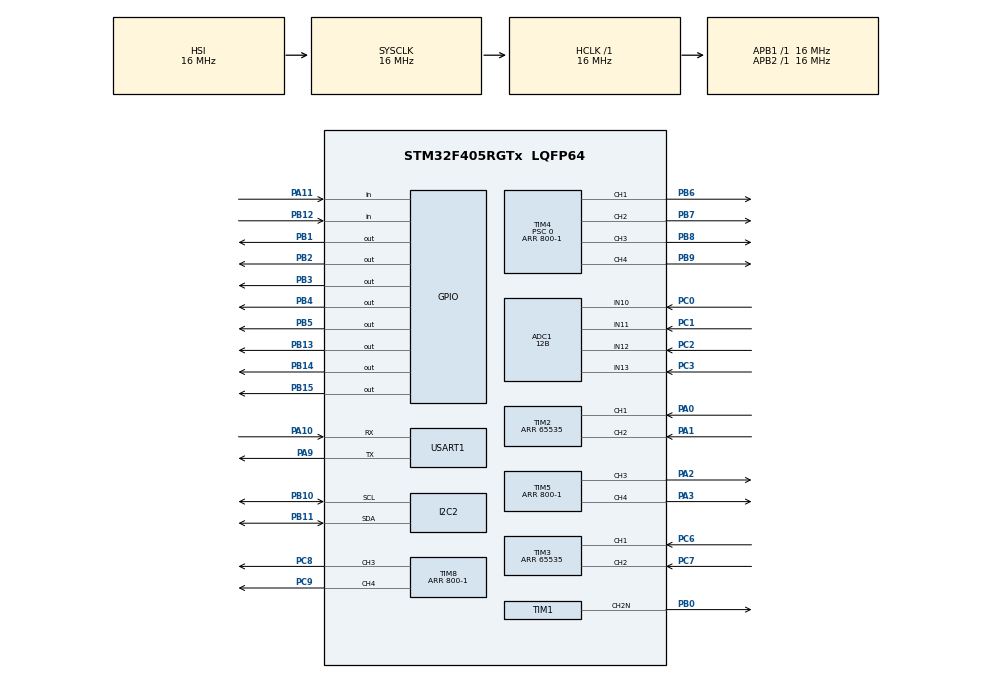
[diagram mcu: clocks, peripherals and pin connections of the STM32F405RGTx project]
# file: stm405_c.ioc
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ADC1.Channel-0\#ChannelRegularConversion=ADC_CHANNEL_10
ADC1.Channel-1\#ChannelRegularConversion=ADC_CHANNEL_11
ADC1.Channel-2\#ChannelRegularConversion=ADC_CHANNEL_12
ADC1.Channel-3\#ChannelRegularConversion=ADC_CHANNEL_13
ADC1.ClockPrescaler=ADC_CLOCK_SYNC_PCLK_DIV2
ADC1.ContinuousConvMode=ENABLE
ADC1.DMAContinuousRequests=ENABLE
ADC1.DataAlign=ADC_DATAALIGN_RIGHT
ADC1.DiscontinuousConvMode=DISABLE
ADC1.EOCSelection=ADC_EOC_SINGLE_CONV
ADC1.EnableAnalogWatchDog=false
ADC1.ExternalTrigConv=ADC_SOFTWARE_START
ADC1.ExternalTrigConvEdge=ADC_EXTERNALTRIGCONVEDGE_NONE
ADC1.InjNumberOfConversion=0
ADC1.NbrOfConversion=4
ADC1.NbrOfConversionFlag=1
ADC1.Rank-0\#ChannelRegularConversion=1
ADC1.Rank-1\#ChannelRegularConversion=2
ADC1.Rank-2\#ChannelRegularConversion=3
ADC1.Rank-3\#ChannelRegularConversion=4
ADC1.Resolution=ADC_RESOLUTION_12B
ADC1.SamplingTime-0\#ChannelRegularConversion=ADC_SAMPLETIME_3CYCLES
ADC1.SamplingTime-1\#ChannelRegularConversion=ADC_SAMPLETIME_3CYCLES
ADC1.SamplingTime-2\#ChannelRegularConversion=ADC_SAMPLETIME_3CYCLES
ADC1.SamplingTime-3\#ChannelRegularConversion=ADC_SAMPLETIME_3CYCLES
ADC1.ScanConvMode=ENABLE
ADC1.master=1
Dma.ADC1.0.Direction=DMA_PERIPH_TO_MEMORY
Dma.ADC1.0.FIFOMode=DMA_FIFOMODE_DISABLE
Dma.ADC1.0.Instance=DMA2_Stream0
Dma.ADC1.0.MemDataAlignment=DMA_MDATAALIGN_HALFWORD
Dma.ADC1.0.MemInc=DMA_MINC_ENABLE
Dma.ADC1.0.Mode=DMA_CIRCULAR
Dma.ADC1.0.PeriphDataAlignment=DMA_PDATAALIGN_HALFWORD
Dma.ADC1.0.PeriphInc=DMA_PINC_DISABLE
Dma.ADC1.0.Priority=DMA_PRIORITY_VERY_HIGH
Dma.Request0=ADC1
Mcu.Family=STM32F4
Mcu.Name=STM32F405RGTx
Mcu.Package=LQFP64
NVIC.DMA2_Stream0_IRQn=true\:0\:0\:false\:false\:true\:false
NVIC.PriorityGroup=NVIC_PRIORITYGROUP_4
NVIC.TIM6_DAC_IRQn=true\:0\:0\:false\:false\:true\:true
NVIC.TIM7_IRQn=true\:1\:0\:true\:false\:true\:true
PA0-WKUP.Signal=S_TIM2_CH1_ETR
PA1.Signal=S_TIM2_CH2
PA10.Mode=Asynchronous
PA10.Signal=USART1_RX
PA11.Signal=GPIO_Input
PA13.Mode=Serial_Wire
PA13.Signal=SYS_JTMS-SWDIO
PA14.Mode=Serial_Wire
PA14.Signal=SYS_JTCK-SWCLK
PA2.Signal=S_TIM5_CH3
PA3.Signal=S_TIM5_CH4
PA9.Mode=Asynchronous
PA9.Signal=USART1_TX
PB0.Mode=PWM Generation2 CH2N
PB0.Signal=TIM1_CH2N
PB1.Signal=GPIO_Output
PB10.Mode=I2C
PB10.Signal=I2C2_SCL
PB11.Mode=I2C
PB11.Signal=I2C2_SDA
PB12.Signal=GPIO_Input
PB13.Signal=GPIO_Output
PB14.Signal=GPIO_Output
PB15.Signal=GPIO_Output
PB2.Signal=GPIO_Output
PB3.Signal=GPIO_Output
PB4.Signal=GPIO_Output
PB5.Signal=GPIO_Output
PB6.Signal=S_TIM4_CH1
PB7.Signal=S_TIM4_CH2
PB8.Signal=S_TIM4_CH3
PB9.Signal=S_TIM4_CH4
PC0.Signal=ADCx_IN10
PC1.Signal=ADCx_IN11
PC2.Signal=ADCx_IN12
PC3.Signal=ADCx_IN13
PC6.Signal=S_TIM3_CH1
PC7.Signal=S_TIM3_CH2
PC8.Signal=S_TIM8_CH3
PC9.Signal=S_TIM8_CH4
ProjectManager.HeapSize=0x200
ProjectManager.StackSize=0x400
ProjectManager.TargetToolchain=SW4STM32
RCC.AHBFreq_Value=16000000
RCC.APB1Freq_Value=16000000
RCC.APB2Freq_Value=16000000
RCC.CortexFreq_Value=16000000
RCC.HSE_VALUE=25000000
RCC.HSI_VALUE=16000000
RCC.LSE_VALUE=32768
RCC.SYSCLKFreq_VALUE=16000000
RCC.VCOOutputFreq_Value=192000000
SH.ADCx_IN10.0=ADC1_IN10,IN10
SH.ADCx_IN11.0=ADC1_IN11,IN11
SH.ADCx_IN12.0=ADC1_IN12,IN12
SH.ADCx_IN13.0=ADC1_IN13,IN13
SH.S_TIM2_CH1_ETR.0=TIM2_CH1,Encoder_Interface
SH.S_TIM2_CH2.0=TIM2_CH2,Encoder_Interface
SH.S_TIM3_CH1.0=TIM3_CH1,Encoder_Interface
SH.S_TIM3_CH2.0=TIM3_CH2,Encoder_Interface
SH.S_TIM4_CH1.0=TIM4_CH1,PWM Generation1 CH1
SH.S_TIM4_CH2.0=TIM4_CH2,PWM Generation2 CH2
SH.S_TIM4_CH3.0=TIM4_CH3,PWM Generation3 CH3
SH.S_TIM4_CH4.0=TIM4_CH4,PWM Generation4 CH4
SH.S_TIM5_CH3.0=TIM5_CH3,PWM Generation3 CH3
SH.S_TIM5_CH4.0=TIM5_CH4,PWM Generation4 CH4
SH.S_TIM8_CH3.0=TIM8_CH3,PWM Generation3 CH3
SH.S_TIM8_CH4.0=TIM8_CH4,PWM Generation4 CH4
TIM1.Channel-PWM\ Generation2\ CH2N=TIM_CHANNEL_2
TIM1.Period=4000-1
TIM2.CounterMode=TIM_COUNTERMODE_CENTERALIGNED1
TIM2.EncoderMode=TIM_ENCODERMODE_TI12
TIM2.Period=65535
TIM3.CounterMode=TIM_COUNTERMODE_CENTERALIGNED1
TIM3.EncoderMode=TIM_ENCODERMODE_TI12
TIM3.Period=65535
TIM4.Channel-PWM\ Generation1\ CH1=TIM_CHANNEL_1
TIM4.Channel-PWM\ Generation2\ CH2=TIM_CHANNEL_2
TIM4.Channel-PWM\ Generation3\ CH3=TIM_CHANNEL_3
TIM4.Channel-PWM\ Generation4\ CH4=TIM_CHANNEL_4
TIM4.Period=800-1
TIM4.Prescaler=0
TIM5.Channel-PWM\ Generation3\ CH3=TIM_CHANNEL_3
TIM5.Channel-PWM\ Generation4\ CH4=TIM_CHANNEL_4
TIM5.Period=800-1
TIM6.Period=1
TIM6.Prescaler=8000-1
TIM7.Period=10
TIM7.Prescaler=8000-1
TIM8.Channel-PWM\ Generation3\ CH3=TIM_CHANNEL_3
TIM8.Channel-PWM\ Generation4\ CH4=TIM_CHANNEL_4
TIM8.Period=800-1
USART1.VirtualMode=VM_ASYNC
VP_TIM6_VS_ClockSourceINT.Mode=Enable_Timer
VP_TIM7_VS_ClockSourceINT.Mode=Enable_Timer
board=stm405_c

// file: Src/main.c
/**
  ******************************************************************************
  * @file           : main.c
  * @brief          : Main program body
  ******************************************************************************
  ** This notice applies to any and all portions of this file
  * that are not between comment pairs USER CODE BEGIN and
  * USER CODE END. Other portions of this file, whether
  * inserted by the user or by software development tools
  * are owned by their respective copyright owners.
  *
  * COPYRIGHT(c) 2019 STMicroelectronics
  *
  * Redistribution and use in source and binary forms, with or without modification,
  * are permitted provided that the following conditions are met:
  *   1. Redistributions of source code must retain the above copyright notice,
  *      this list of conditions and the following disclaimer.
  *   2. Redistributions in binary form must reproduce the above copyright notice,
  *      this list of conditions and the following disclaimer in the documentation
  *      and/or other materials provided with the distribution.
  *   3. Neither the name of STMicroelectronics nor the names of its contributors
  *      may be used to endorse or promote products derived from this software
  *      without specific prior written permission.
  *
  * THIS SOFTWARE IS PROVIDED BY THE COPYRIGHT HOLDERS AND CONTRIBUTORS "AS IS"
  * AND ANY EXPRESS OR IMPLIED WARRANTIES, INCLUDING, BUT NOT LIMITED TO, THE
  * IMPLIED WARRANTIES OF MERCHANTABILITY AND FITNESS FOR A PARTICULAR PURPOSE ARE
  * DISCLAIMED. IN NO EVENT SHALL THE COPYRIGHT HOLDER OR CONTRIBUTORS BE LIABLE
  * FOR ANY DIRECT, INDIRECT, INCIDENTAL, SPECIAL, EXEMPLARY, OR CONSEQUENTIAL
  * DAMAGES (INCLUDING, BUT NOT LIMITED TO, PROCUREMENT OF SUBSTITUTE GOODS OR
  * SERVICES; LOSS OF USE, DATA, OR PROFITS; OR BUSINESS INTERRUPTION) HOWEVER
  * CAUSED AND ON ANY THEORY OF LIABILITY, WHETHER IN CONTRACT, STRICT LIABILITY,
  * OR TORT (INCLUDING NEGLIGENCE OR OTHERWISE) ARISING IN ANY WAY OUT OF THE USE
  * OF THIS SOFTWARE, EVEN IF ADVISED OF THE POSSIBILITY OF SUCH DAMAGE.
  *
  ******************************************************************************
  */
#include "main.h"
#include "stm32f4xx_hal.h"
#include "adc.h"
#include "dma.h"
#include "i2c.h"
#include "tim.h"
#include "usart.h"
#include "gpio.h"
#include "flash.h"

/* USER CODE BEGIN PV */
/* Private variables ---------------------------------------------------------*/

const float Rm = 37.750;//旋回半径
const float Rt = 12.0;//タイヤ半径
const float PI = 3.14159265;//円周率
const float T = 0.001;//制御周期
const float M = 114.58;//機体重量
const float Ratio_gear = 42/8;//ギア比
const float V_source = 3.3;

const float Torque_constant_motor = 1.98*0.001;
const float R_constant_motor = 1.07;
const float Vback_constant_motor = 0.207*0.001;//逆起電力定数[V/min^-1]
const float Rotation_constant_motor = 4820;//回転定数[min^-1/V]

float time=0.0;

double view_enc1 = 0;
double view_enc2 = 0;
double view_gyro_i2c = 0;
double view_gyro_enc = 0;

double theta=0.0;
double theta_offset=0.0;
enum{LENGTH=4};
uint16_t ADCBuffer[LENGTH];
#define true 1
#define false 0
struct flags{
	short btn1,btn2,start_tim;
} flg;
struct position{
	float x,y;
} pos;
struct parcel{
	int x,y;
	short n,s,e,w;
};
/* USER CODE END PV */

void SystemClock_Config(void);

/* USER CODE BEGIN PFP */
/* Private function prototypes -----------------------------------------------*/
void user_tim1_ch2_pwm_setvalue(float value);
void user_tim5_ch3_pwm_setvalue(float value);
void user_tim5_ch4_pwm_setvalue(float value);
void user_tim8_ch3_pwm_setvalue(float value);
void user_tim8_ch4_pwm_setvalue(float value);
void user_tim4_ch1_pwm_setvalue(float value);
void user_tim4_ch2_pwm_setvalue(float value);
void user_tim4_ch3_pwm_setvalue(float value);
void user_tim4_ch4_pwm_setvalue(float value);
void user_tim4_pwm_setvalue(float value);
void user_tim2_qei_setvalue(int32_t);
void user_tim3_qei_setvalue(int32_t);
int32_t user_tim2_qei_getvalue();
int32_t user_tim3_qei_getvalue();
void user_i2c2_gyro_set_init();
float user_i2c2_gyro_getvalue();
double user_enc_gyro_getvalue(float right,float left);
void user_motor1_duty(float target);
void user_motor2_duty(float target);
float user_motor_foward(float target,float encval);
void user_motor1_control(float target,float encval);
void user_motor2_control(float target,float encval);
void user_motor1_stop();
void user_motor2_stop();
float user_motor1_qei_getvalue();
float user_motor2_qei_getvalue();
float user_pid_motor1_speed(float target,float current);
float user_pid_motor2_speed(float target,float current);
float user_pid_motor1_position(float target,float current);
float user_pid_motor2_position(float target,float current);
float user_pid_theta(float target,float current);

void kinematics(float v,float rho,float *left,float *right);
void user_machine_control_speed(float target_v,float target_w);
GPIO_PinState user_button_1();
GPIO_PinState user_button_2();
/* USER CODE END PFP */

/* USER CODE BEGIN 0 */
void user_tim6_interrupt(){
	time += 0.001;
	float encval1=user_motor1_qei_getvalue();//left
	float encval2=user_motor2_qei_getvalue();//right
	view_enc1 = encval1;
	view_enc2 = encval2;
	view_gyro_i2c = user_i2c2_gyro_getvalue();
	view_gyro_enc = user_enc_gyro_getvalue(encval2,encval1);
	theta += view_gyro_i2c;

	float control_val = theta*500 + view_gyro_i2c*Rt;

	user_motor1_control(control_val,encval1);
	user_motor2_control(-control_val,encval2);
	HAL_GPIO_TogglePin(GPIOB,GPIO_PIN_13);
}
void user_tim7_interrupt(){
	  HAL_GPIO_TogglePin(GPIOB,GPIO_PIN_15);
}
/* USER CODE END 0 */

int main(void)
{

  /* MCU Configuration----------------------------------------------------------*/

  /* Reset of all peripherals, Initializes the Flash interface and the Systick. */
  HAL_Init();

  /* Configure the system clock */
  SystemClock_Config();

  /* Initialize all configured peripherals */
  MX_GPIO_Init();
  MX_DMA_Init();
  MX_USART1_UART_Init();
  MX_TIM3_Init();
  MX_ADC1_Init();
  MX_TIM5_Init();
  MX_TIM2_Init();
  MX_I2C2_Init();
  MX_TIM8_Init();
  MX_TIM4_Init();
  MX_TIM1_Init();
  MX_TIM6_Init();
  MX_TIM7_Init();
  /* USER CODE BEGIN 2 */

  user_tim1_ch2_pwm_setvalue(0.0);
  user_tim5_ch3_pwm_setvalue(0.0);
  user_tim5_ch4_pwm_setvalue(0.0);
  user_tim8_ch3_pwm_setvalue(0.0);
  user_tim8_ch4_pwm_setvalue(0.0);
  user_tim4_pwm_setvalue(0.0);
  user_tim2_qei_setvalue(0);
  user_tim3_qei_setvalue(0);

  HAL_TIM_Encoder_Start(&htim2,TIM_CHANNEL_ALL);
  HAL_TIM_Encoder_Start(&htim3,TIM_CHANNEL_ALL);
  HAL_TIM_Base_Start_IT(&htim6);
  HAL_TIM_Base_Start_IT(&htim7);

  user_i2c2_gyro_set_init();

  memset(ADCBuffer,0,sizeof(ADCBuffer));
  HAL_ADC_Start_DMA(&hadc1,ADCBuffer,LENGTH);
  /* USER CODE END 2 */

  /* Infinite loop */
  /* USER CODE BEGIN WHILE */
  while (1)
  {
	  if(user_button_1()) flg.btn1=true;
	  if(user_button_2()) flg.btn2=true;
  /* USER CODE END WHILE */

  }

}

void SystemClock_Config(void)
{

  RCC_OscInitTypeDef RCC_OscInitStruct;
  RCC_ClkInitTypeDef RCC_ClkInitStruct;

    /**Configure the main internal regulator output voltage
    */
  __HAL_RCC_PWR_CLK_ENABLE();

  __HAL_PWR_VOLTAGESCALING_CONFIG(PWR_REGULATOR_VOLTAGE_SCALE1);

    /**Initializes the CPU, AHB and APB busses clocks
    */
  RCC_OscInitStruct.OscillatorType = RCC_OSCILLATORTYPE_HSI;
  RCC_OscInitStruct.HSIState = RCC_HSI_ON;
  RCC_OscInitStruct.HSICalibrationValue = 16;
  RCC_OscInitStruct.PLL.PLLState = RCC_PLL_NONE;
  if (HAL_RCC_OscConfig(&RCC_OscInitStruct) != HAL_OK)
  {
    _Error_Handler(__FILE__, __LINE__);
  }

    /**Initializes the CPU, AHB and APB busses clocks
    */
  RCC_ClkInitStruct.ClockType = RCC_CLOCKTYPE_HCLK|RCC_CLOCKTYPE_SYSCLK
                              |RCC_CLOCKTYPE_PCLK1|RCC_CLOCKTYPE_PCLK2;
  RCC_ClkInitStruct.SYSCLKSource = RCC_SYSCLKSOURCE_HSI;
  RCC_ClkInitStruct.AHBCLKDivider = RCC_SYSCLK_DIV1;
  RCC_ClkInitStruct.APB1CLKDivider = RCC_HCLK_DIV1;
  RCC_ClkInitStruct.APB2CLKDivider = RCC_HCLK_DIV1;

  if (HAL_RCC_ClockConfig(&RCC_ClkInitStruct, FLASH_LATENCY_0) != HAL_OK)
  {
    _Error_Handler(__FILE__, __LINE__);
  }

    /**Configure the Systick interrupt time
    */
  HAL_SYSTICK_Config(HAL_RCC_GetHCLKFreq()/1000);

    /**Configure the Systick
    */
  HAL_SYSTICK_CLKSourceConfig(SYSTICK_CLKSOURCE_HCLK);

  /* SysTick_IRQn interrupt configuration */
  HAL_NVIC_SetPriority(SysTick_IRQn, 0, 0);
}

/* USER CODE BEGIN 4 */
void user_tim1_ch2_pwm_setvalue(float value)
{
   TIM_OC_InitTypeDef sConfigOC;
   sConfigOC.OCMode = TIM_OCMODE_PWM1;
   sConfigOC.Pulse = (uint32_t)((4000-1)*value);
   sConfigOC.OCPolarity = TIM_OCPOLARITY_HIGH;
   sConfigOC.OCNPolarity = TIM_OCNPOLARITY_HIGH;
   sConfigOC.OCFastMode = TIM_OCFAST_DISABLE;
   sConfigOC.OCIdleState = TIM_OCIDLESTATE_RESET;
   sConfigOC.OCNIdleState = TIM_OCNIDLESTATE_RESET;
   HAL_TIM_PWM_ConfigChannel(&htim1, &sConfigOC, TIM_CHANNEL_2);
   HAL_TIMEx_PWMN_Start(&htim1, TIM_CHANNEL_2);
}
void user_tim5_ch3_pwm_setvalue(float value)
{
   TIM_OC_InitTypeDef sConfigOC;
   sConfigOC.OCMode = TIM_OCMODE_PWM1;
   sConfigOC.Pulse = (uint32_t)((800-1)*value);
   sConfigOC.OCPolarity = TIM_OCPOLARITY_HIGH;
   sConfigOC.OCNPolarity = TIM_OCNPOLARITY_HIGH;
   sConfigOC.OCFastMode = TIM_OCFAST_DISABLE;
   sConfigOC.OCIdleState = TIM_OCIDLESTATE_RESET;
   sConfigOC.OCNIdleState = TIM_OCNIDLESTATE_RESET;
   HAL_TIM_PWM_ConfigChannel(&htim5, &sConfigOC, TIM_CHANNEL_3);
   HAL_TIM_PWM_Start(&htim5, TIM_CHANNEL_3);
}
void user_tim5_ch4_pwm_setvalue(float value)
{
   TIM_OC_InitTypeDef sConfigOC;
   sConfigOC.OCMode = TIM_OCMODE_PWM1;
   sConfigOC.Pulse = (uint32_t)((800-1)*value);
   sConfigOC.OCPolarity = TIM_OCPOLARITY_HIGH;
   sConfigOC.OCNPolarity = TIM_OCNPOLARITY_HIGH;
   sConfigOC.OCFastMode = TIM_OCFAST_DISABLE;
   sConfigOC.OCIdleState = TIM_OCIDLESTATE_RESET;
   sConfigOC.OCNIdleState = TIM_OCNIDLESTATE_RESET;
   HAL_TIM_PWM_ConfigChannel(&htim5, &sConfigOC, TIM_CHANNEL_4);
   HAL_TIM_PWM_Start(&htim5, TIM_CHANNEL_4);
}
void user_tim8_ch3_pwm_setvalue(float value)
{
   TIM_OC_InitTypeDef sConfigOC;
   sConfigOC.OCMode = TIM_OCMODE_PWM1;
   sConfigOC.Pulse = (uint32_t)((800-1)*value);
   sConfigOC.OCPolarity = TIM_OCPOLARITY_HIGH;
   sConfigOC.OCNPolarity = TIM_OCNPOLARITY_HIGH;
   sConfigOC.OCFastMode = TIM_OCFAST_DISABLE;
   sConfigOC.OCIdleState = TIM_OCIDLESTATE_RESET;
   sConfigOC.OCNIdleState = TIM_OCNIDLESTATE_RESET;
   HAL_TIM_PWM_ConfigChannel(&htim8, &sConfigOC, TIM_CHANNEL_3);
   HAL_TIM_PWM_Start(&htim8, TIM_CHANNEL_3);
}
void user_tim8_ch4_pwm_setvalue(float value)
{
   TIM_OC_InitTypeDef sConfigOC;
   sConfigOC.OCMode = TIM_OCMODE_PWM1;
   sConfigOC.Pulse = (uint32_t)((800-1)*value);
   sConfigOC.OCPolarity = TIM_OCPOLARITY_HIGH;
   sConfigOC.OCNPolarity = TIM_OCNPOLARITY_HIGH;
   sConfigOC.OCFastMode = TIM_OCFAST_DISABLE;
   sConfigOC.OCIdleState = TIM_OCIDLESTATE_RESET;
   sConfigOC.OCNIdleState = TIM_OCNIDLESTATE_RESET;
   HAL_TIM_PWM_ConfigChannel(&htim8, &sConfigOC, TIM_CHANNEL_4);
   HAL_TIM_PWM_Start(&htim8, TIM_CHANNEL_4);
}
void user_tim4_ch1_pwm_setvalue(float value){
	   TIM_OC_InitTypeDef sConfigOC;
	   sConfigOC.OCMode = TIM_OCMODE_PWM1;
	   sConfigOC.Pulse = (uint32_t)((80000-1)*value);
	   sConfigOC.OCPolarity = TIM_OCPOLARITY_HIGH;
	   sConfigOC.OCNPolarity = TIM_OCNPOLARITY_HIGH;
	   sConfigOC.OCFastMode = TIM_OCFAST_DISABLE;
	   sConfigOC.OCIdleState = TIM_OCIDLESTATE_RESET;
	   sConfigOC.OCNIdleState = TIM_OCNIDLESTATE_RESET;
	   HAL_TIM_PWM_ConfigChannel(&htim4, &sConfigOC, TIM_CHANNEL_1);
	   HAL_TIM_PWM_Start(&htim4, TIM_CHANNEL_1);
}
void user_tim4_ch2_pwm_setvalue(float value){
	   TIM_OC_InitTypeDef sConfigOC;
	   sConfigOC.OCMode = TIM_OCMODE_PWM1;
	   sConfigOC.Pulse = (uint32_t)((80000-1)*value);
	   sConfigOC.OCPolarity = TIM_OCPOLARITY_HIGH;
	   sConfigOC.OCNPolarity = TIM_OCNPOLARITY_HIGH;
	   sConfigOC.OCFastMode = TIM_OCFAST_DISABLE;
	   sConfigOC.OCIdleState = TIM_OCIDLESTATE_RESET;
	   sConfigOC.OCNIdleState = TIM_OCNIDLESTATE_RESET;
	   HAL_TIM_PWM_ConfigChannel(&htim4, &sConfigOC, TIM_CHANNEL_2);
	   HAL_TIM_PWM_Start(&htim4, TIM_CHANNEL_2);
}
void user_tim4_ch3_pwm_setvalue(float value){
	   TIM_OC_InitTypeDef sConfigOC;
	   sConfigOC.OCMode = TIM_OCMODE_PWM1;
	   sConfigOC.Pulse = (uint32_t)((80000-1)*value);
	   sConfigOC.OCPolarity = TIM_OCPOLARITY_HIGH;
	   sConfigOC.OCNPolarity = TIM_OCNPOLARITY_HIGH;
	   sConfigOC.OCFastMode = TIM_OCFAST_DISABLE;
	   sConfigOC.OCIdleState = TIM_OCIDLESTATE_RESET;
	   sConfigOC.OCNIdleState = TIM_OCNIDLESTATE_RESET;
	   HAL_TIM_PWM_ConfigChannel(&htim4, &sConfigOC, TIM_CHANNEL_3);
	   HAL_TIM_PWM_Start(&htim4, TIM_CHANNEL_3);
}
void user_tim4_ch4_pwm_setvalue(float value){
	   TIM_OC_InitTypeDef sConfigOC;
	   sConfigOC.OCMode = TIM_OCMODE_PWM1;
	   sConfigOC.Pulse = (uint32_t)((80000-1)*value);
	   sConfigOC.OCPolarity = TIM_OCPOLARITY_HIGH;
	   sConfigOC.OCNPolarity = TIM_OCNPOLARITY_HIGH;
	   sConfigOC.OCFastMode = TIM_OCFAST_DISABLE;
	   sConfigOC.OCIdleState = TIM_OCIDLESTATE_RESET;
	   sConfigOC.OCNIdleState = TIM_OCNIDLESTATE_RESET;
	   HAL_TIM_PWM_ConfigChannel(&htim4, &sConfigOC, TIM_CHANNEL_4);
	   HAL_TIM_PWM_Start(&htim4, TIM_CHANNEL_4);
}
void user_tim4_pwm_setvalue(float value){
	user_tim4_ch1_pwm_setvalue(value);
	user_tim4_ch2_pwm_setvalue(value);
	user_tim4_ch3_pwm_setvalue(value);
	user_tim4_ch4_pwm_setvalue(value);
}
void user_tim2_qei_setvalue(int32_t val){
	TIM2->CNT = val;
}
void user_tim3_qei_setvalue(int32_t val){
	TIM3->CNT = val;
}
int32_t user_tim2_qei_getvalue(){
	return (int32_t)TIM2->CNT;
}
int32_t user_tim3_qei_getvalue(){
	return (int32_t)TIM3->CNT;
}
double user_enc_gyro_getvalue(float right,float left){
	return -((PI*Rt*(right-left))/(1024*4*Ratio_gear*Rm));
}
float user_i2c2_gyro_getvalue(){
	union Gyro_Data{
		uint8_t data_splited[2];
		int16_t data_composed;
	} dat;
	HAL_I2C_Mem_Read(&hi2c2,0xD0,0x47,I2C_MEMADD_SIZE_8BIT,&dat.data_splited[1],1,10);
	HAL_I2C_Mem_Read(&hi2c2,0xD0,0x48,I2C_MEMADD_SIZE_8BIT,&dat.data_splited[0],1,10);
	return (float)(dat.data_composed*1.0/16400*PI/180);
}
void user_i2c2_gyro_set_init(){
	uint8_t read=0;
	uint8_t address=0x75;//WHO_AM_I
	uint8_t config=0x00;
	uint8_t set[]={0x1A,0x12};
	uint8_t dat=0x00;
	HAL_I2C_Mem_Read(&hi2c2,0xD0/*device ID*/,0x75/*WHO_AM_I*/,I2C_MEMADD_SIZE_8BIT/*Memory Address Size*/,&read/*Data Buffer*/,1,10);
	if( read == 0x68 ){
		//wakeup sensor
		HAL_I2C_Mem_Write(&hi2c2,0xD0,0x6B,I2C_MEMADD_SIZE_8BIT,&dat,1,10);
		HAL_I2C_Mem_Read(&hi2c2 ,0xD0,0x6B,I2C_MEMADD_SIZE_8BIT,&read,1,10);
		//configure sensor
		config=0x00;
		HAL_I2C_Mem_Write(&hi2c2,0xD0,0x1a,I2C_MEMADD_SIZE_8BIT,&config,1,10);
		config=0x10;
		HAL_I2C_Mem_Write(&hi2c2,0xD0,0x1b,I2C_MEMADD_SIZE_8BIT,&config,1,10);

		HAL_GPIO_WritePin(GPIOB,GPIO_PIN_1,GPIO_PIN_SET);
	}else{/*read == 0x68*/

		HAL_GPIO_WritePin(GPIOB,GPIO_PIN_1,GPIO_PIN_RESET);
	}
}
void user_motor1_duty(float target){
	if(target>0){
		user_tim5_ch3_pwm_setvalue(target);
		user_tim5_ch4_pwm_setvalue(0.0);
	}else
	if(target<0){
		user_tim5_ch3_pwm_setvalue(0.0);
		user_tim5_ch4_pwm_setvalue(-target);
	}else{
		user_tim5_ch3_pwm_setvalue(0.0);
		user_tim5_ch4_pwm_setvalue(0.0);
	}
}
void user_motor2_duty(float target){
	if(target>0){
		user_tim8_ch3_pwm_setvalue(target);
		user_tim8_ch4_pwm_setvalue(0.0);
	}else
	if(target<0){
		user_tim8_ch3_pwm_setvalue(0.0);
		user_tim8_ch4_pwm_setvalue(-target);
	}else{
		user_tim8_ch3_pwm_setvalue(0.0);
		user_tim8_ch4_pwm_setvalue(0.0);
	}
}
void user_motor1_stop(){
	user_motor1_duty(0);
}
void user_motor2_stop(){
	user_motor2_duty(0);
}
void user_motor1_control(float target,float encval){
	user_motor1_duty(user_motor_foward(-target,encval)+user_pid_motor1_position(-target,encval));
}
void user_motor2_control(float target,float encval){
	user_motor2_duty(user_motor_foward(-target,encval)+user_pid_motor2_position(-target,encval));
}
float user_motor_foward(float target,float encval){
	float ff_acceleration = target;

	float torque_target = M * ff_acceleration * Rt/2;
	float torque_motor = torque_target/Ratio_gear;
	float i_motor = torque_motor/Torque_constant_motor;
	float v_back_motor = Vback_constant_motor*(encval*60.0*1000)*0;
//	float v_motor = R_constant_motor*i_motor + v_back_motor;
	float v_motor = (target*60.0)/Rotation_constant_motor + v_back_motor;
	float duty = v_motor/V_source;

	return duty;
}

float user_motor1_qei_getvalue(){
	float value = (float)(user_tim2_qei_getvalue()-65535/2);
	user_tim2_qei_setvalue(65535/2);
	return value;
}
float user_motor2_qei_getvalue(){
	float value = -(float)(user_tim3_qei_getvalue()-65535/2);
	user_tim3_qei_setvalue(65535/2);
	return value;
}
float user_pid_motor1_speed(float target,float current){
	static float P=0.0,I=0.0,D=0.0;
	static float diff[3]={0.0};
	static float u;
	diff[2]=diff[1];
	diff[1]=diff[0];
	diff[0]=target-current;
	u += P*(diff[0]-diff[1])+ I*diff[0]+ D*(diff[0]-2*diff[1]+diff[2]);
	return u;
}
float user_pid_motor2_speed(float target,float current){
	static float P=0.0,I=0.0,D=0.0;
	static float diff[3]={0.0};
	static float u;
	diff[2]=diff[1];
	diff[1]=diff[0];
	diff[0]=target-current;
	u += P*(diff[0]-diff[1])+ I*diff[0]+ D*(diff[0]-2*diff[1]+diff[2]);
	return u;
}
float user_pid_motor1_position(float target,float current){
	float duty=0.0;
	static float P=0.0,I=0.0,D=0.0;
	float diff[3]={0.0};
	diff[2]=(target-current)-diff[0];
	diff[1]+=(target-current);
	diff[0]=target-current;
	duty = P*diff[0]+ I*diff[1]+ D*diff[2];
	return duty;
}
float user_pid_motor2_position(float target,float current){
	float duty=0.0;
	static float P=0.0,I=0.0,D=0.0;
	float diff[3]={0.0};
	diff[2]=(target-current)-diff[0];
	diff[1]+=(target-current);
	diff[0]=target-current;
	duty = P*diff[0]+ I*diff[1]+ D*diff[2];
	return duty;
}
void user_machine_control_speed(float target_v,float target_w){
}
float user_pid_theta(float target,float current){
}
void kinematics(float v,float rho,float *left,float *right){
	float w = 0.0;
	if(rho == 0.0){
		w = v;
	}
	else if(v=0.0){
		w = rho;
	}else{
		w = v/rho;
	}
	*right = (rho + Rm)*w;
	*left = (rho - Rm)*w;
}
GPIO_PinState user_button_1(){
	return !HAL_GPIO_ReadPin(GPIOA,GPIO_PIN_11);
}
GPIO_PinState user_button_2(){
	return !HAL_GPIO_ReadPin(GPIOB,GPIO_PIN_12);
}
/* USER CODE END 4 */

void _Error_Handler(char *file, int line)
{
  while(1)
  {
  }
}

/************************ (C) COPYRIGHT STMicroelectronics *****END OF FILE****/
